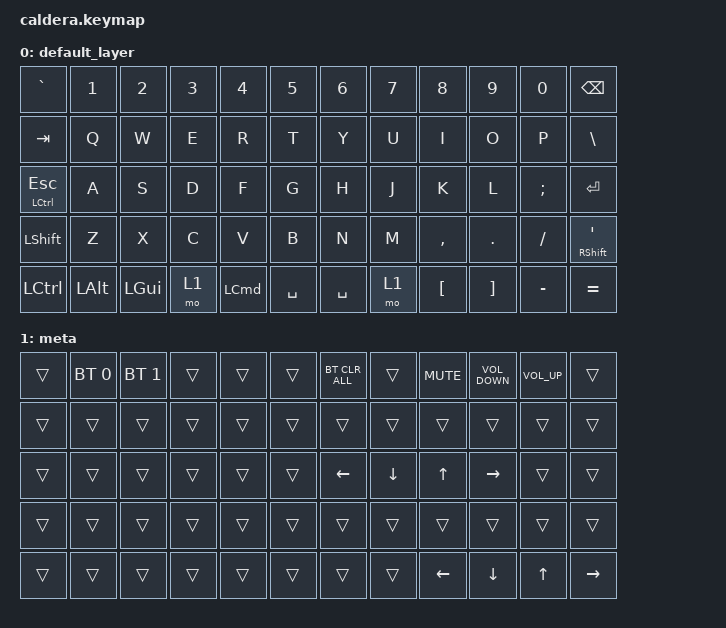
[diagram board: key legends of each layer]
#include <behaviors.dtsi>
#include <dt-bindings/zmk/bt.h>
#include <dt-bindings/zmk/keys.h>

/ {
    keymap {
        compatible = "zmk,keymap";

        default_layer {
            // ---------------------------------------------------------------------------------
            // |   `  |  1  |  2  |  3  |  4  |  5  |     |  6  |  7  |  8  |  9  |  0  | BKSP |
            // |  TAB |  Q  |  W  |  E  |  R  |  T  |     |  Y  |  U  |  I  |  O  |  P  |  \   |
            // | CAPS |  A  |  S  |  D  |  F  |  G  |     |  H  |  J  |  K  |  L  |  ;  |  ENT |
            // | SHFT |  Z  |  X  |  C  |  V  |  B  |     |  N  |  M  |  ,  |  .  |  /  | APOS |
            // | CTRL | ALT | GUI | SPC | SPC | SPC |     | SPC | LOW |LARW |DARW |UARW | RARW |

            bindings = <
&kp GRAVE                &kp N1    &kp N2    &kp N3  &kp N4            &kp N5       &kp N6     &kp N7  &kp N8            &kp N9             &kp N0     &kp BSPC
&kp TAB                  &kp Q     &kp W     &kp E   &kp R             &kp T        &kp Y      &kp U   &kp I             &kp O              &kp P      &kp BSLH
&mt LEFT_CONTROL ESCAPE  &kp A     &kp S     &kp D   &kp F             &kp G        &kp H      &kp J   &kp K             &kp L              &kp SEMI   &kp RET
&kp LSHFT                &kp Z     &kp X     &kp C   &kp V             &kp B        &kp N      &kp M   &kp COMMA         &kp DOT            &kp FSLH   &mt RSHFT SQT
&kp LCTRL                &kp LALT  &kp LGUI  &mo 1   &kp LEFT_COMMAND  &kp SPACE    &kp SPACE  &mo 1   &kp LEFT_BRACKET  &kp RIGHT_BRACKET  &kp MINUS  &kp EQUAL
            >;
        };

        meta {
            bindings = <
&trans  &bt BT_SEL 0  &bt BT_SEL 1  &trans  &trans  &trans    &bt BT_CLR_ALL  &trans    &kp K_MUTE      &kp C_VOLUME_DOWN  &kp C_VOLUME_UP  &trans
&trans  &trans        &trans        &trans  &trans  &trans    &trans          &trans    &trans          &trans             &trans           &trans
&trans  &trans        &trans        &trans  &trans  &trans    &kp LEFT_ARROW  &kp DOWN  &kp UP_ARROW    &kp RIGHT          &trans           &trans
&trans  &trans        &trans        &trans  &trans  &trans    &trans          &trans    &trans          &trans             &trans           &trans
&trans  &trans        &trans        &trans  &trans  &trans    &trans          &trans    &kp LEFT_ARROW  &kp DOWN           &kp UP_ARROW     &kp RIGHT
            >;
        };
    };
};
